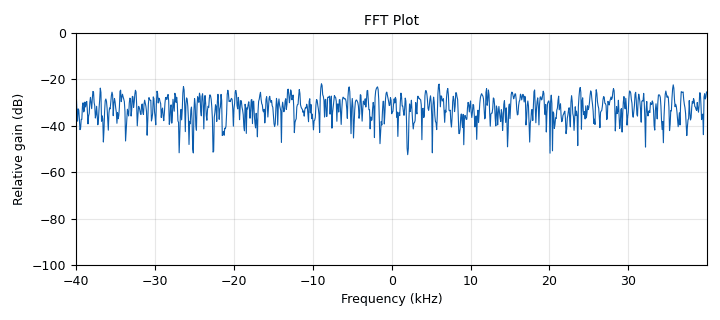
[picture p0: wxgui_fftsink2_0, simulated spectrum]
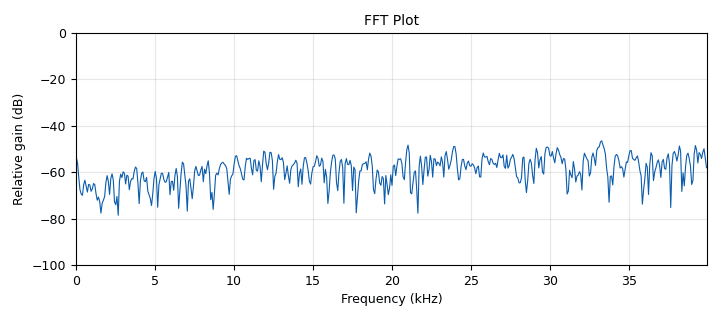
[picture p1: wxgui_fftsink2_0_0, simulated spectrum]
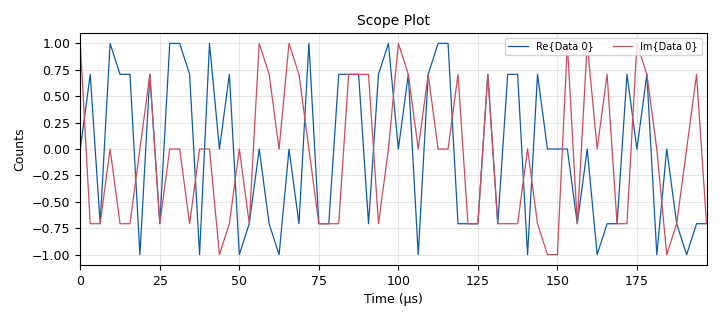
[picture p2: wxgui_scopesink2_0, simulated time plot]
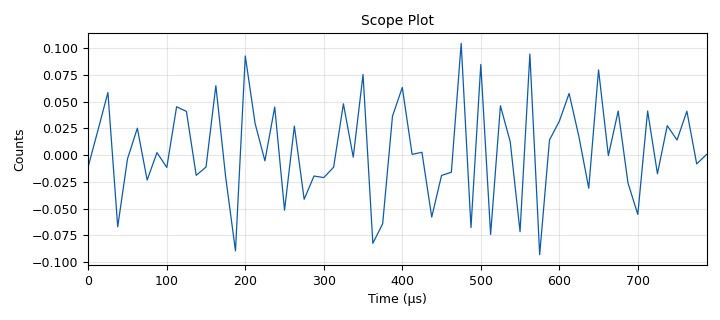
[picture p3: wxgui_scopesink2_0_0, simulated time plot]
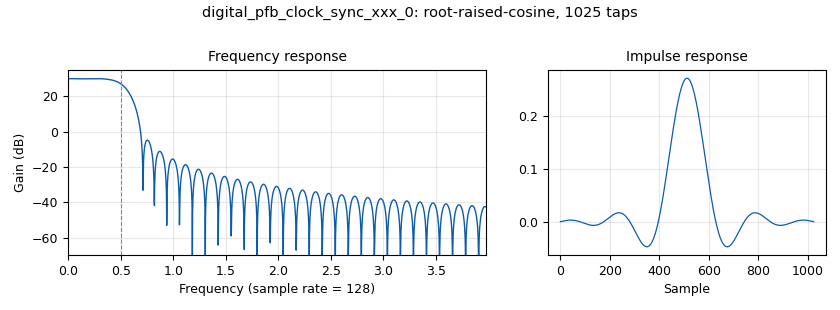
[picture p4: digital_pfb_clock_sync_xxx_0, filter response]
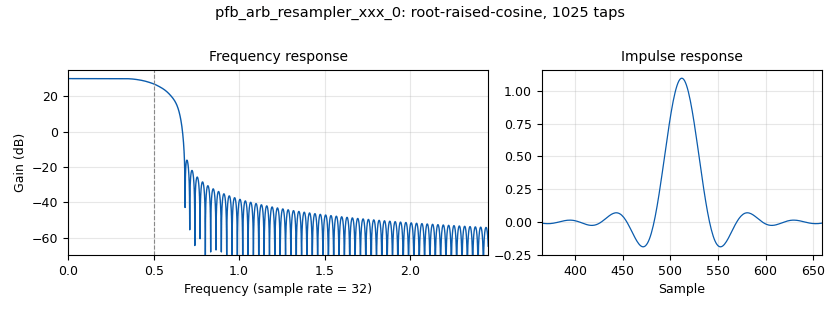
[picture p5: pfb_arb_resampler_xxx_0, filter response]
<?xml version='1.0' encoding='utf-8'?>
<?grc format='1' created='3.7.9'?>
<flow_graph>
<block>
<key>options</key>
<param><key>id</key><value>top_block</value></param>
<param><key>category</key><value>Custom</value></param>
<param><key>generate_options</key><value>wx_gui</value></param>
</block>
<block>
<key>variable</key>
<param><key>id</key><value>input_sps</value></param>
<param><key>value</key><value>4</value></param>
</block>
<block>
<key>variable</key>
<param><key>id</key><value>rx_taps</value></param>
<param><key>value</key><value>firdes.root_raised_cosine(32,32*4,1.0,0.35,1024)</value></param>
</block>
<block>
<key>variable</key>
<param><key>id</key><value>samp_rate</value></param>
<param><key>value</key><value>32000</value></param>
</block>
<block>
<key>variable</key>
<param><key>id</key><value>symb_samp_rate</value></param>
<param><key>value</key><value>80000</value></param>
</block>
<block>
<key>variable</key>
<param><key>id</key><value>tx_taps</value></param>
<param><key>value</key><value>firdes.root_raised_cosine(32,32,1.0,0.35,1024)</value></param>
</block>
<block>
<key>analog_random_source_x</key>
<param><key>id</key><value>analog_random_source_x_0</value></param>
<param><key>max</key><value>8</value></param>
<param><key>min</key><value>0</value></param>
<param><key>num_samps</key><value>1000</value></param>
<param><key>type</key><value>byte</value></param>
<param><key>repeat</key><value>True</value></param>
</block>
<block>
<key>analog_sig_source_x</key>
<param><key>id</key><value>analog_sig_source_x_0</value></param>
<param><key>amp</key><value>1</value></param>
<param><key>freq</key><value>10000</value></param>
<param><key>offset</key><value>0</value></param>
<param><key>type</key><value>complex</value></param>
<param><key>samp_rate</key><value>symb_samp_rate*input_sps</value></param>
<param><key>waveform</key><value>analog.GR_COS_WAVE</value></param>
</block>
<block>
<key>blocks_complex_to_arg</key>
<param><key>id</key><value>blocks_complex_to_arg_0</value></param>
</block>
<block>
<key>blocks_multiply_const_vxx</key>
<param><key>id</key><value>blocks_multiply_const_vxx_0</value></param>
<param><key>const</key><value>1.0/8</value></param>
<param><key>type</key><value>float</value></param>
</block>
<block>
<key>blocks_multiply_xx</key>
<param><key>id</key><value>blocks_multiply_xx_0</value></param>
<param><key>type</key><value>complex</value></param>
</block>
<block>
<key>blocks_multiply_xx</key>
<param><key>id</key><value>blocks_multiply_xx_1</value></param>
<param><key>type</key><value>complex</value></param>
</block>
<block>
<key>blocks_multiply_xx</key>
<param><key>id</key><value>blocks_multiply_xx_1_0</value></param>
<param><key>type</key><value>complex</value></param>
</block>
<block>
<key>blocks_multiply_xx</key>
<param><key>id</key><value>blocks_multiply_xx_1_1</value></param>
<param><key>type</key><value>complex</value></param>
</block>
<block>
<key>blocks_throttle</key>
<param><key>id</key><value>blocks_throttle_0</value></param>
<param><key>samples_per_second</key><value>symb_samp_rate</value></param>
<param><key>type</key><value>complex</value></param>
</block>
<block>
<key>blocks_throttle</key>
<param><key>id</key><value>blocks_throttle_1</value></param>
<param><key>_enabled</key><value>0</value></param>
<param><key>samples_per_second</key><value>symb_samp_rate*4</value></param>
<param><key>type</key><value>complex</value></param>
</block>
<block>
<key>digital_chunks_to_symbols_xx</key>
<param><key>id</key><value>digital_chunks_to_symbols_xx_0</value></param>
<param><key>dimension</key><value>1</value></param>
<param><key>in_type</key><value>byte</value></param>
<param><key>out_type</key><value>complex</value></param>
<param><key>symbol_table</key><value>((1+0j),(1+1j)/sqrt(2),(0+1j),(1-1j)/sqrt(2),(-1 + 0j),(-1-1j)/sqrt(2),(0-1j),(-1+1j)/sqrt(2))</value></param>
</block>
<block>
<key>digital_pfb_clock_sync_xxx</key>
<param><key>id</key><value>digital_pfb_clock_sync_xxx_0</value></param>
<param><key>filter_size</key><value>32</value></param>
<param><key>init_phase</key><value>16</value></param>
<param><key>loop_bw</key><value>0.0625</value></param>
<param><key>max_dev</key><value>1.5</value></param>
<param><key>osps</key><value>1</value></param>
<param><key>sps</key><value>input_sps</value></param>
<param><key>taps</key><value>rx_taps</value></param>
<param><key>type</key><value>ccf</value></param>
</block>
<block>
<key>notebook</key>
<param><key>id</key><value>notebook_0</value></param>
<param><key>labels</key><value>['tab1', 'tab2', 'tab3','tab4']</value></param>
<param><key>style</key><value>wx.NB_TOP</value></param>
</block>
<block>
<key>pfb_arb_resampler_xxx</key>
<param><key>id</key><value>pfb_arb_resampler_xxx_0</value></param>
<param><key>nfilts</key><value>32</value></param>
<param><key>rrate</key><value>input_sps</value></param>
<param><key>atten</key><value>100</value></param>
<param><key>taps</key><value>tx_taps</value></param>
<param><key>type</key><value>ccf</value></param>
</block>
<block>
<key>import</key>
<param><key>id</key><value>sqrt</value></param>
<param><key>import</key><value>from math import sqrt</value></param>
</block>
<block>
<key>wxgui_fftsink2</key>
<param><key>id</key><value>wxgui_fftsink2_0</value></param>
<param><key>avg_alpha</key><value>0</value></param>
<param><key>average</key><value>False</value></param>
<param><key>baseband_freq</key><value>0</value></param>
<param><key>fft_size</key><value>1024</value></param>
<param><key>freqvar</key><value>None</value></param>
<param><key>notebook</key><value>notebook_0,2</value></param>
<param><key>peak_hold</key><value>False</value></param>
<param><key>ref_level</key><value>0</value></param>
<param><key>ref_scale</key><value>2.0</value></param>
<param><key>fft_rate</key><value>15</value></param>
<param><key>samp_rate</key><value>symb_samp_rate*1</value></param>
<param><key>title</key><value>FFT Plot</value></param>
<param><key>type</key><value>complex</value></param>
<param><key>win</key><value>None</value></param>
<param><key>y_divs</key><value>10</value></param>
<param><key>y_per_div</key><value>10</value></param>
</block>
<block>
<key>wxgui_fftsink2</key>
<param><key>id</key><value>wxgui_fftsink2_0_0</value></param>
<param><key>avg_alpha</key><value>0</value></param>
<param><key>average</key><value>False</value></param>
<param><key>baseband_freq</key><value>0</value></param>
<param><key>fft_size</key><value>1024</value></param>
<param><key>freqvar</key><value>None</value></param>
<param><key>notebook</key><value>notebook_0,3</value></param>
<param><key>peak_hold</key><value>False</value></param>
<param><key>ref_level</key><value>0</value></param>
<param><key>ref_scale</key><value>2.0</value></param>
<param><key>fft_rate</key><value>15</value></param>
<param><key>samp_rate</key><value>symb_samp_rate*1</value></param>
<param><key>title</key><value>FFT Plot</value></param>
<param><key>type</key><value>float</value></param>
<param><key>win</key><value>None</value></param>
<param><key>y_divs</key><value>10</value></param>
<param><key>y_per_div</key><value>10</value></param>
</block>
<block>
<key>wxgui_scopesink2</key>
<param><key>id</key><value>wxgui_scopesink2_0</value></param>
<param><key>ac_couple</key><value>False</value></param>
<param><key>notebook</key><value>notebook_0,0</value></param>
<param><key>num_inputs</key><value>1</value></param>
<param><key>samp_rate</key><value>symb_samp_rate*input_sps</value></param>
<param><key>t_scale</key><value>0</value></param>
<param><key>title</key><value>Scope Plot</value></param>
<param><key>trig_mode</key><value>wxgui.TRIG_MODE_AUTO</value></param>
<param><key>type</key><value>complex</value></param>
<param><key>v_offset</key><value>0</value></param>
<param><key>v_scale</key><value>0</value></param>
<param><key>xy_mode</key><value>False</value></param>
<param><key>y_axis_label</key><value>Counts</value></param>
</block>
<block>
<key>wxgui_scopesink2</key>
<param><key>id</key><value>wxgui_scopesink2_0_0</value></param>
<param><key>ac_couple</key><value>False</value></param>
<param><key>notebook</key><value>notebook_0,1</value></param>
<param><key>num_inputs</key><value>1</value></param>
<param><key>samp_rate</key><value>symb_samp_rate*1</value></param>
<param><key>t_scale</key><value>0</value></param>
<param><key>title</key><value>Scope Plot</value></param>
<param><key>trig_mode</key><value>wxgui.TRIG_MODE_AUTO</value></param>
<param><key>type</key><value>float</value></param>
<param><key>v_offset</key><value>0</value></param>
<param><key>v_scale</key><value>0</value></param>
<param><key>xy_mode</key><value>False</value></param>
<param><key>y_axis_label</key><value>Counts</value></param>
</block>
<connection><source_block_id>analog_random_source_x_0</source_block_id><sink_block_id>digital_chunks_to_symbols_xx_0</sink_block_id><source_key>0</source_key><sink_key>0</sink_key></connection>
<connection><source_block_id>analog_sig_source_x_0</source_block_id><sink_block_id>blocks_multiply_xx_0</sink_block_id><source_key>0</source_key><sink_key>1</sink_key></connection>
<connection><source_block_id>blocks_complex_to_arg_0</source_block_id><sink_block_id>blocks_multiply_const_vxx_0</sink_block_id><source_key>0</source_key><sink_key>0</sink_key></connection>
<connection><source_block_id>blocks_multiply_const_vxx_0</source_block_id><sink_block_id>wxgui_fftsink2_0_0</sink_block_id><source_key>0</source_key><sink_key>0</sink_key></connection>
<connection><source_block_id>blocks_multiply_const_vxx_0</source_block_id><sink_block_id>wxgui_scopesink2_0_0</sink_block_id><source_key>0</source_key><sink_key>0</sink_key></connection>
<connection><source_block_id>blocks_multiply_xx_0</source_block_id><sink_block_id>blocks_throttle_1</sink_block_id><source_key>0</source_key><sink_key>0</sink_key></connection>
<connection><source_block_id>blocks_multiply_xx_0</source_block_id><sink_block_id>digital_pfb_clock_sync_xxx_0</sink_block_id><source_key>0</source_key><sink_key>0</sink_key></connection>
<connection><source_block_id>blocks_multiply_xx_1</source_block_id><sink_block_id>blocks_multiply_xx_1_0</sink_block_id><source_key>0</source_key><sink_key>0</sink_key></connection>
<connection><source_block_id>blocks_multiply_xx_1</source_block_id><sink_block_id>blocks_multiply_xx_1_0</sink_block_id><source_key>0</source_key><sink_key>1</sink_key></connection>
<connection><source_block_id>blocks_multiply_xx_1_0</source_block_id><sink_block_id>blocks_multiply_xx_1_1</sink_block_id><source_key>0</source_key><sink_key>0</sink_key></connection>
<connection><source_block_id>blocks_multiply_xx_1_0</source_block_id><sink_block_id>blocks_multiply_xx_1_1</sink_block_id><source_key>0</source_key><sink_key>1</sink_key></connection>
<connection><source_block_id>blocks_multiply_xx_1_1</source_block_id><sink_block_id>blocks_complex_to_arg_0</sink_block_id><source_key>0</source_key><sink_key>0</sink_key></connection>
<connection><source_block_id>blocks_throttle_0</source_block_id><sink_block_id>pfb_arb_resampler_xxx_0</sink_block_id><source_key>0</source_key><sink_key>0</sink_key></connection>
<connection><source_block_id>blocks_throttle_0</source_block_id><sink_block_id>wxgui_fftsink2_0</sink_block_id><source_key>0</source_key><sink_key>0</sink_key></connection>
<connection><source_block_id>blocks_throttle_0</source_block_id><sink_block_id>wxgui_scopesink2_0</sink_block_id><source_key>0</source_key><sink_key>0</sink_key></connection>
<connection><source_block_id>digital_chunks_to_symbols_xx_0</source_block_id><sink_block_id>blocks_throttle_0</sink_block_id><source_key>0</source_key><sink_key>0</sink_key></connection>
<connection><source_block_id>digital_pfb_clock_sync_xxx_0</source_block_id><sink_block_id>blocks_multiply_xx_1</sink_block_id><source_key>0</source_key><sink_key>0</sink_key></connection>
<connection><source_block_id>digital_pfb_clock_sync_xxx_0</source_block_id><sink_block_id>blocks_multiply_xx_1</sink_block_id><source_key>0</source_key><sink_key>1</sink_key></connection>
<connection><source_block_id>pfb_arb_resampler_xxx_0</source_block_id><sink_block_id>blocks_multiply_xx_0</sink_block_id><source_key>0</source_key><sink_key>0</sink_key></connection>
</flow_graph>
